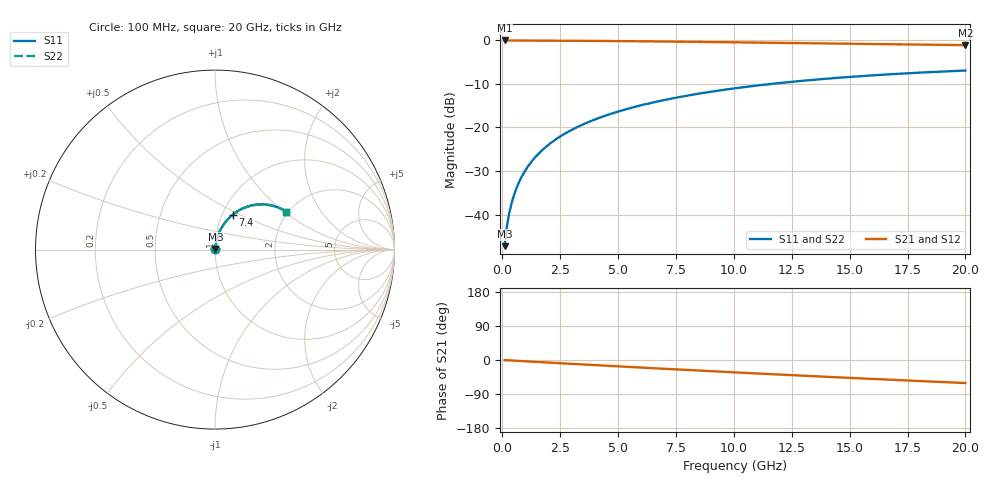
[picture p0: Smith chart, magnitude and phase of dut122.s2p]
! Touchstone file exported from HFSS 2026.1.0
!  File:  C:/ffzhzh/LocalFiles/Ansys_Project_Files/temp_train_TMRDL_122_1782982628_6248.aedt
!  Generated:  04:58:26 PM Jul  2, 2026
!  Design:  TMRDL
!  Project:  temp_train_TMRDL_122_1782982628_6248
! Variables:
!  h_bsmrdl = 2um
!  h_ox = 20um
!  h_rdl = 5um
!  h_sub = 80um
!  h_tmrdl = 5.14um
!  h_tsv = 80um
!  h_via = 3um
!  l_bsmrdl = 300um
!  l_sub = 1375.36um
!  l_tmrdl = 975.36um
!  m_sub = 200um
!  pitch = 59.43um
!  r_tsv = 6um
!  s_tmrdl = 10um
!  w_bsmrdl = 18um
!  w_sub = 500um
!  w_tmrdl = 29.47um
!  x_tsv_center1 = 990.095um
!  x_tsv_center2 = 1308.095um
!  x_tsv_center3 = 2312.925um
!  x_tsv_center4 = 2630.925um
!  x_tsv_center5 = 3635.755um
!  x_tsv_center6 = 3953.755um
# GHz S MA R 50.000000
! Terminal data exported
! Port[1] = TM_RDL1_1_T1
! Port[2] = TM_RDL1_1_T2
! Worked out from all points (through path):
!   200 points, 100 MHz to 20 GHz, reference 50 ohm
!   highest |S21| = -0.02 dB at 100 MHz (marker M1); lowest = -1.1 dB at 20 GHz (marker M2)
!   group delay of S21, straight-line fit = 8.44 ps
!   lowest |S11| = -47.3 dB at 100 MHz (marker M3), VSWR 1.01, Z = 50.3 + j0.352 ohm
!   |S11| at or under -10 dB: start of sweep to 11.62 GHz
!   |S22| runs from -47.3 to -6.9 dB; largest |S21 - S12| = 2.9e-14
!   S11 on the Smith chart (normalised r, x): 100 MHz: 1.01, +0.01; 7.4 GHz: 1.12, +0.45; 20 GHz: 1.96, +1.04
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0.1  0.004335 53.8  0.9975 -0.4  0.9975 -0.4  0.004335 53.8
! Gamma 0 0 0 0
! Port Impedance 50 0 50 0
0.2  0.00735 67.0  0.9972 -0.7  0.9972 -0.7  0.00735 67.0
0.3  0.0104 72.4  0.997 -1.1  0.997 -1.1  0.0104 72.4
0.4  0.01347 75.4  0.9969 -1.4  0.9969 -1.4  0.01347 75.4
0.5  0.01657 77.3  0.9967 -1.7  0.9967 -1.7  0.01657 77.3
0.7  0.02281 79.3  0.9965 -2.4  0.9965 -2.4  0.02281 79.3
0.8  0.02594 79.8  0.9963 -2.8  0.9963 -2.8  0.02594 79.8
1  0.03222 80.4  0.996 -3.4  0.996 -3.4  0.03222 80.4
1.2  0.0385 80.5  0.9957 -4.1  0.9957 -4.1  0.0385 80.5
1.4  0.04477 80.4  0.9953 -4.8  0.9953 -4.8  0.04477 80.4
1.7  0.05413 80.0  0.9945 -5.8  0.9945 -5.8  0.05413 79.9
2  0.06343 79.3  0.9937 -6.8  0.9937 -6.8  0.06343 79.3
2.7  0.08486 77.5  0.9914 -9.2  0.9914 -9.2  0.08486 77.5
3.5  0.1088 75.1  0.9883 -11.8  0.9883 -11.8  0.1088 75.1
4.2  0.1293 73.0  0.9852 -14.2  0.9852 -14.2  0.1293 73.0
5  0.1521 70.6  0.9812 -16.8  0.9812 -16.8  0.1521 70.5
6.8  0.2013 65.1  0.9711 -22.6  0.9711 -22.6  0.2013 65.0
7.4  0.217 63.3  0.9675 -24.5  0.9675 -24.5  0.217 63.2
10.1  0.2828 55.2  0.9493 -32.8  0.9493 -32.8  0.2828 55.2
13.4  0.3517 45.7  0.9255 -42.6  0.9255 -42.6  0.3517 45.7
16.7  0.4074 36.7  0.9022 -51.9  0.9022 -51.9  0.4074 36.6
20  0.4501 28.0  0.8817 -60.8  0.8817 -60.8  0.4501 27.9
